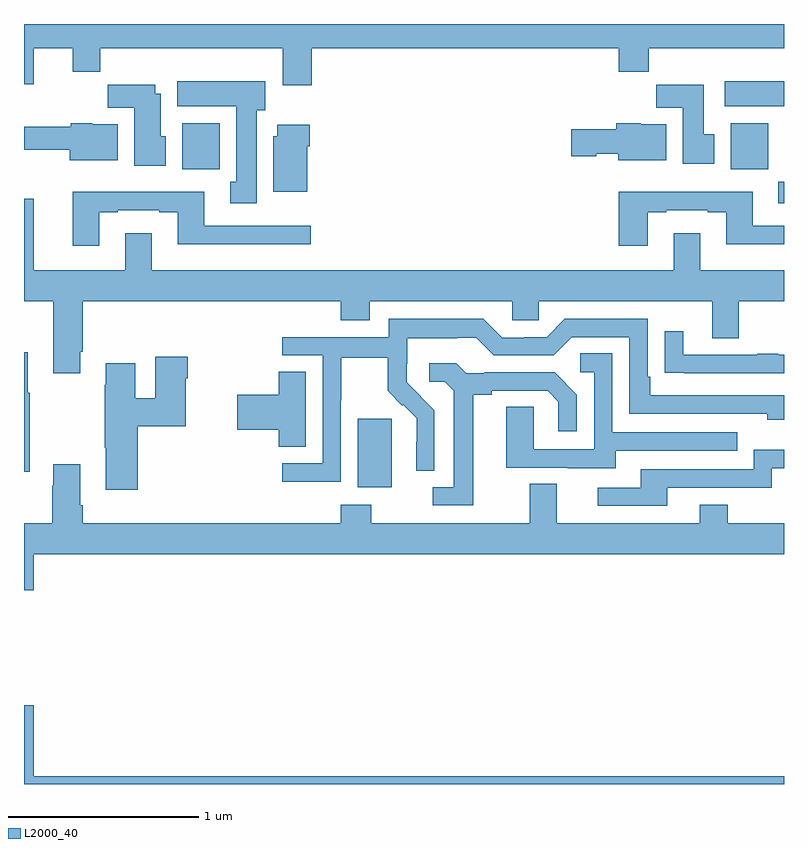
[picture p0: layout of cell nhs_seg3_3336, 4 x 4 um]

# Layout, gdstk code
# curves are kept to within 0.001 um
import gdstk
lib = gdstk.Library(unit=1e-6, precision=1e-09)
def R(c, l, rs):  # rectangles x0, y0, x1, y1
    for r in rs: c.add(gdstk.rectangle(r[:2], r[2:], *l))
def P(c, l, *ps):  # polygons
    for p in ps: c.add(gdstk.Polygon(p, *l))
L2000_40 = (2000, 40)

nhs_seg3_3336 = lib.new_cell('nhs_seg3_3336')
R(nhs_seg3_3336, L2000_40, [(286.757,675.962,286.936,676.323), (288.971,677.457,289,677.57), (285.833,677.636,286.03,677.878), (288.719,677.636,288.916,677.878), (288.687,677.966,289,678.1)])
P(nhs_seg3_3336, L2000_40, [(286.514,678.272),(288.131,678.272),(288.131,678.148),(288.287,678.148),(288.287,678.272),(289,678.272),(289,678.4),(285,678.4),(285,678.084),(285.052,678.084),(285.052,678.272),(285.257,678.272),(285.257,678.148),(285.401,678.148),(285.401,678.272),(286.361,678.272),(286.361,678.078),(286.514,678.078)],
  [(286.225,677.946),(286.27,677.946),(286.27,678.1),(285.806,678.1),(285.806,677.966),(286.118,677.966),(286.118,677.57),(286.085,677.57),(286.085,677.457),(286.225,677.457)],
  [(288.634,677.82),(288.577,677.82),(288.577,678.079),(288.328,678.079),(288.328,677.96),(288.467,677.96),(288.467,677.664),(288.634,677.664)],
  [(285.745,677.808),(285.721,677.808),(285.721,678.034),(285.691,678.034),(285.691,678.079),(285.442,678.079),(285.442,677.96),(285.581,677.96),(285.581,677.654),(285.745,677.654)],
  [(285.493,677.872),(285.36,677.872),(285.36,677.878),(285.246,677.878),(285.246,677.86),(285,677.86),(285,677.738),(285.242,677.738),(285.242,677.684),(285.493,677.684)],
  [(288.379,677.872),(288.246,677.872),(288.246,677.878),(288.116,677.878),(288.116,677.847),(287.88,677.847),(287.88,677.705),(288.012,677.705),(288.012,677.717),(288.128,677.717),(288.128,677.684),(288.379,677.684)],
  [(286.492,677.756),(286.505,677.756),(286.505,677.869),(286.334,677.869),(286.334,677.808),(286.313,677.808),(286.313,677.516),(286.492,677.516)],
  [(285.397,677.409),(285.493,677.409),(285.493,677.421),(285.713,677.421),(285.713,677.409),(285.809,677.409),(285.809,677.24),(286.51,677.24),(286.51,677.337),(285.949,677.337),(285.949,677.518),(285.257,677.518),(285.257,677.232),(285.397,677.232)],
  [(288.283,677.409),(288.379,677.409),(288.379,677.421),(288.599,677.421),(288.599,677.409),(288.695,677.409),(288.695,677.24),(289,677.24),(289,677.337),(288.835,677.337),(288.835,677.518),(288.131,677.518),(288.131,677.232),(288.283,677.232)],
  [(285.295,676.675),(285.308,676.675),(285.308,676.94),(286.667,676.94),(286.667,676.841),(286.819,676.841),(286.819,676.94),(287.571,676.94),(287.571,676.842),(287.709,676.842),(287.709,676.94),(288.623,676.94),(288.623,676.746),(288.763,676.746),(288.763,676.94),(289,676.94),(289,677.104),(288.559,677.104),(288.559,677.299),(288.419,677.299),(288.419,677.104),(285.673,677.104),(285.673,677.299),(285.533,677.299),(285.533,677.104),(285.052,677.104),(285.052,677.479),(285,677.479),(285,676.94),(285.155,676.94),(285.155,676.563),(285.295,676.563)],
  [(286.668,676.42),(286.671,676.42),(286.671,676.644),(286.915,676.644),(286.915,676.469),(286.992,676.392),(286.995,676.395),(287.066,676.325),(287.066,676.202),(287.064,676.202),(287.064,676.048),(287.16,676.048),(287.16,676.366),(287.014,676.514),(287.014,676.611),(287.016,676.611),(287.016,676.745),(287.279,676.745),(287.279,676.749),(287.379,676.749),(287.472,676.656),(287.787,676.656),(287.883,676.752),(288.186,676.752),(288.186,676.35),(288.911,676.35),(288.911,676.316),(289,676.316),(289,676.446),(288.295,676.446),(288.295,676.543),(288.282,676.543),(288.282,676.848),(287.847,676.848),(287.751,676.752),(287.633,676.752),(287.633,676.749),(287.517,676.749),(287.417,676.849),(286.92,676.849),(286.92,676.752),(286.359,676.752),(286.359,676.656),(286.572,676.656),(286.572,676.089),(286.359,676.089),(286.359,675.991),(286.668,675.991)],
  [(289,676.659),(288.971,676.659),(288.971,676.664),(288.859,676.664),(288.859,676.659),(288.469,676.659),(288.469,676.783),(288.373,676.783),(288.373,676.564),(288.475,676.564),(288.475,676.563),(289,676.563)],
  [(285.031,676.459),(285.019,676.459),(285.019,676.672),(285,676.672),(285,676.043),(285.031,676.043)],
  [(288.115,676.155),(288.755,676.155),(288.755,676.251),(288.096,676.251),(288.096,676.667),(287.928,676.667),(287.928,676.566),(288,676.566),(288,676.161),(287.682,676.161),(287.682,676.385),(287.537,676.385),(287.537,676.065),(287.861,676.065),(287.861,676.061),(288.115,676.061)],
  [(285.599,676.283),(285.85,676.283),(285.85,676.535),(285.863,676.535),(285.863,676.648),(285.692,676.648),(285.692,676.43),(285.586,676.43),(285.586,676.615),(285.431,676.615),(285.431,676.502),(285.424,676.502),(285.424,676.171),(285.431,676.171),(285.431,675.948),(285.599,675.948)],
  [(287.365,676.448),(287.461,676.448),(287.461,676.47),(287.756,676.47),(287.813,676.413),(287.813,676.257),(287.91,676.257),(287.91,676.45),(287.794,676.566),(287.422,676.566),(287.422,676.563),(287.328,676.563),(287.276,676.615),(287.133,676.615),(287.133,676.518),(287.214,676.518),(287.261,676.471),(287.261,675.963),(287.151,675.963),(287.151,675.867),(287.365,675.867)],
  [(286.483,676.571),(286.34,676.571),(286.34,676.448),(286.122,676.448),(286.122,676.265),(286.34,676.265),(286.34,676.174),(286.483,676.174)],
  [(288.385,675.96),(288.936,675.96),(288.936,676.062),(289,676.062),(289,676.159),(288.84,676.159),(288.84,676.056),(288.245,676.056),(288.245,675.96),(288.021,675.96),(288.021,675.864),(288.385,675.864)],
  [(285,675.42),(285.052,675.42),(285.052,675.608),(289,675.608),(289,675.772),(288.705,675.772),(288.705,675.871),(288.557,675.871),(288.557,675.772),(287.803,675.772),(287.803,675.98),(287.663,675.98),(287.663,675.772),(286.827,675.772),(286.827,675.871),(286.667,675.871),(286.667,675.772),(285.308,675.772),(285.308,675.868),(285.295,675.868),(285.295,676.084),(285.155,676.084),(285.155,675.971),(285.148,675.971),(285.148,675.772),(285,675.772)],
  [(289,674.44),(285.052,674.44),(285.052,674.815),(285,674.815),(285,674.4),(289,674.4)])

lib.write_gds('nhs_seg3_3336.gds')
